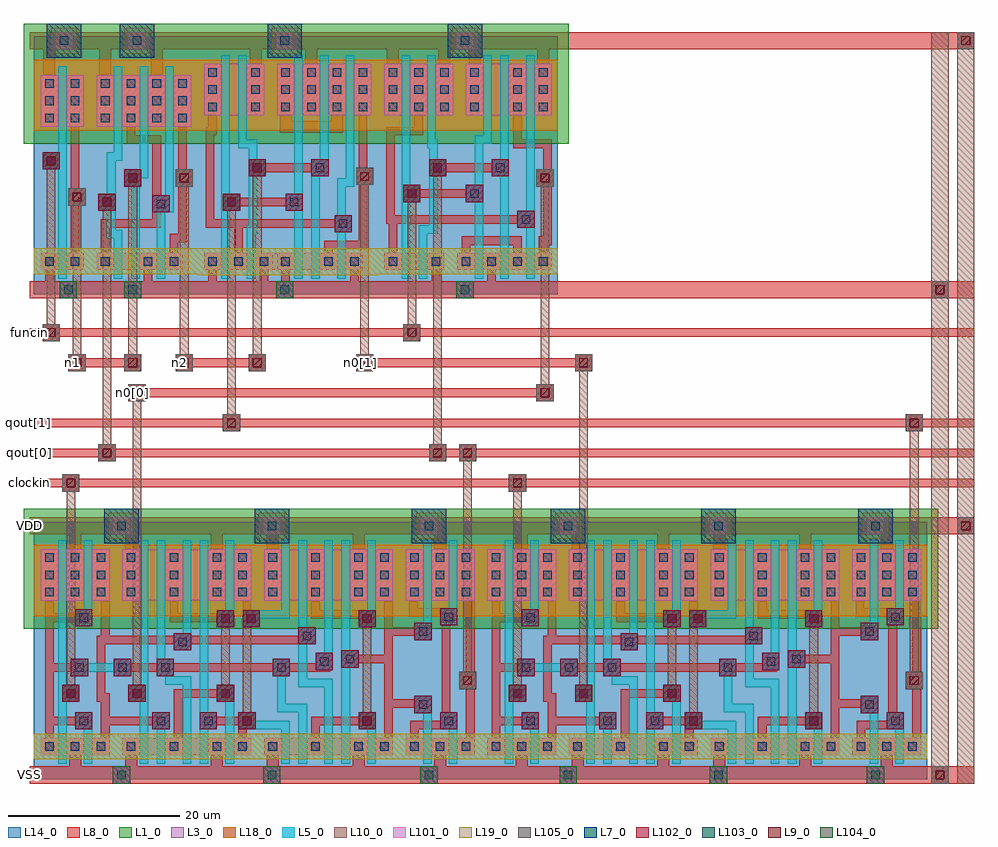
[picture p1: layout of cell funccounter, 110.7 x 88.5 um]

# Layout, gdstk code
import gdstk
lib = gdstk.Library(unit=1e-6, precision=1e-09)
def R(c, l, rs):  # rectangles x0, y0, x1, y1
    for r in rs: c.add(gdstk.rectangle(r[:2], r[2:], *l))
L1_0 = (1, 0)
L3_0 = (3, 0)
L5_0 = (5, 0)
L7_0 = (7, 0)
L8_0 = (8, 0)
L9_0 = (9, 0)
L10_0 = (10, 0)
L14_0 = (14, 0)
L18_0 = (18, 0)
L19_0 = (19, 0)
L101_0 = (101, 0)
L102_0 = (102, 0)
L103_0 = (103, 0)
L104_0 = (104, 0)
L105_0 = (105, 0)

via = lib.new_cell('Via')
R(via, L8_0, [(-1,-1,1,1)])
R(via, L9_0, [(-0.5,-0.5,0.5,0.5)])
R(via, L10_0, [(-1,-1,1,1)])
R(via, L105_0, [(-1,-1,1,1)])
via.add(gdstk.Label('via', (0,0), layer=13, texttype=0))

dcont = lib.new_cell('dcont')
R(dcont, L3_0, [(-1,-1,1,1)])
R(dcont, L7_0, [(-0.5,-0.5,0.5,0.5)])
R(dcont, L8_0, [(-1,-1,1,1)])
R(dcont, L101_0, [(-1,-1,1,1)])
dcont.add(gdstk.Label('dcont', (0,0), layer=13, texttype=0))

psubcont = lib.new_cell('psubcont')
R(psubcont, L104_0, [(-1,-1,1,1)])
psubcont.add(gdstk.Reference(dcont, (0,0)))
psubcont.add(gdstk.Label('PScon', (0,0), layer=13, texttype=0))

pcont = lib.new_cell('pcont')
R(pcont, L5_0, [(-1,-1,1,1)])
R(pcont, L7_0, [(-0.5,-0.5,0.5,0.5)])
R(pcont, L8_0, [(-1,-1,1,1)])
R(pcont, L102_0, [(-1,-1,1,1)])
pcont.add(gdstk.Label('pcont', (0,0), layer=13, texttype=0))

nsubcont = lib.new_cell('nsubcont')
R(nsubcont, L1_0, [(-2,-2,2,2)])
R(nsubcont, L19_0, [(-1.5,-1.5,1.5,1.5)])
R(nsubcont, L103_0, [(-2,-2,2,2)])
nsubcont.add(gdstk.Reference(dcont, (0,0)))
nsubcont.add(gdstk.Label('NScont', (0,0), layer=13, texttype=0))

dff1m2 = lib.new_cell('dff1m2')
R(dff1m2, L1_0, [(-1.2,17.5,53.3,31.5)])
R(dff1m2, L3_0, [(0.8,2.8,8.8,4.8), (10.3,2.8,25.3,4.8), (26.8,2.8,41.8,4.8), (43.3,2.8,51.3,4.8), (0.8,20.8,8.8,26.8), (10.3,20.8,25.3,26.8), (26.8,20.8,41.8,26.8), (43.3,20.8,51.3,26.8)])
R(dff1m2, L8_0, [(-0.5,-0.5,52.5,1.5), (3.3,9,5.3,11), (11,9,13,11), (49.5,10.5,51.5,12.5), (-0.5,28.5,52.5,30.5)])
R(dff1m2, L10_0, [(3.3,9,5.3,11), (11,9,13,11), (49.5,10.5,51.5,12.5)])
R(dff1m2, L14_0, [(0,0,52,30)])
R(dff1m2, L18_0, [(0,19,52,27.3)])
R(dff1m2, L19_0, [(0,2.3,52,5.3)])
R(dff1m2, L105_0, [(3.3,9,5.3,11), (11,9,13,11), (49.5,10.5,51.5,12.5)])
dff1m2.add(gdstk.FlexPath([(48.8,18.4),(48.8,27.3)], 1, ends="extended", simple_path=True, layer=5, datatype=0))  # L5_0
dff1m2.add(gdstk.FlexPath([(48.8,2.3),(48.8,6.7)], 1, ends="extended", simple_path=True, layer=5, datatype=0))  # L5_0
dff1m2.add(gdstk.FlexPath([(45.8,17),(45.8,27.3)], 1, ends="extended", simple_path=True, layer=5, datatype=0))  # L5_0
dff1m2.add(gdstk.FlexPath([(45.8,2.3),(45.8,8.9)], 1, ends="extended", simple_path=True, layer=5, datatype=0))  # L5_0
dff1m2.add(gdstk.FlexPath([(39.3,6.8),(39.3,2.3)], 1, ends="extended", simple_path=True, layer=5, datatype=0))  # L5_0
dff1m2.add(gdstk.FlexPath([(39.3,27.3),(39.3,18.7)], 1, ends="extended", simple_path=True, layer=5, datatype=0))  # L5_0
dff1m2.add(gdstk.FlexPath([(36.3,2.3),(36.3,27.3)], 1, ends="extended", simple_path=True, layer=5, datatype=0))  # L5_0
dff1m2.add(gdstk.FlexPath([(34.3,27.3),(34.3,13.7)], 1, ends="extended", simple_path=True, layer=5, datatype=0))  # L5_0
dff1m2.add(gdstk.FlexPath([(34.3,2.3),(34.3,11.2),(31.3,11.2),(31.3,27.3)], 1, ends="extended", simple_path=True, layer=5, datatype=0))  # L5_0
dff1m2.add(gdstk.FlexPath([(31.3,2.3),(31.3,8.3),(28.8,8.3),(28.8,13)], 1, ends="extended", simple_path=True, layer=5, datatype=0))  # L5_0
dff1m2.add(gdstk.FlexPath([(29.3,2.3),(29.3,6.3),(25.3,6.3)], 1, ends="extended", simple_path=True, layer=5, datatype=0))  # L5_0
dff1m2.add(gdstk.FlexPath([(25.3,19.2),(29.3,19.2),(29.3,27.3)], 1, ends="extended", simple_path=True, layer=5, datatype=0))  # L5_0
dff1m2.add(gdstk.FlexPath([(22.8,18.7),(22.8,27.3)], 1, ends="extended", simple_path=True, layer=5, datatype=0))  # L5_0
dff1m2.add(gdstk.FlexPath([(22.8,2.3),(22.8,10)], 1, ends="extended", simple_path=True, layer=5, datatype=0))  # L5_0
dff1m2.add(gdstk.FlexPath([(19.8,27.3),(19.8,2.3)], 1, ends="extended", simple_path=True, layer=5, datatype=0))  # L5_0
dff1m2.add(gdstk.FlexPath([(17.8,15.8),(17.8,27.3)], 1, ends="extended", simple_path=True, layer=5, datatype=0))  # L5_0
dff1m2.add(gdstk.FlexPath([(17.8,2.3),(17.8,11.5),(15.8,11.5),(15.8,13.1),(14.8,13.1),(14.8,27.3)], 1, ends="extended", simple_path=True, layer=5, datatype=0))  # L5_0
dff1m2.add(gdstk.FlexPath([(14.8,2.3),(14.8,6.8)], 1, ends="extended", simple_path=True, layer=5, datatype=0))  # L5_0
dff1m2.add(gdstk.FlexPath([(12.8,27.3),(12.8,2.3)], 1, ends="extended", simple_path=True, layer=5, datatype=0))  # L5_0
dff1m2.add(gdstk.FlexPath([(10.3,13),(5.4,13)], 1, ends="extended", simple_path=True, layer=5, datatype=0))  # L5_0
dff1m2.add(gdstk.FlexPath([(6.3,18.6),(6.3,27.3)], 1, ends="extended", simple_path=True, layer=5, datatype=0))  # L5_0
dff1m2.add(gdstk.FlexPath([(6.3,2.3),(6.3,7)], 1, ends="extended", simple_path=True, layer=5, datatype=0))  # L5_0
dff1m2.add(gdstk.FlexPath([(3.3,27.3),(3.3,2.3)], 1, ends="extended", simple_path=True, layer=5, datatype=0))  # L5_0
dff1m2.add(gdstk.FlexPath([(50.8,3.3),(50.8,26)], 1, ends="extended", simple_path=True, layer=8, datatype=0))  # L8_0
dff1m2.add(gdstk.FlexPath([(50.3,22.6),(50.3,25.8)], 1.4, ends="extended", simple_path=True, layer=8, datatype=0))  # L8_0
dff1m2.add(gdstk.FlexPath([(47.3,22.6),(47.3,28.5)], 1.4, ends="extended", simple_path=True, layer=8, datatype=0))  # L8_0
dff1m2.add(gdstk.FlexPath([(47.3,1),(47.3,3.8)], 1.4, ends="extended", simple_path=True, layer=8, datatype=0))  # L8_0
dff1m2.add(gdstk.FlexPath([(44.2,26),(44.2,19.4),(48,19.4),(48,6.3),(44.3,6.3),(44.3,3.6)], 1, ends="extended", simple_path=True, layer=8, datatype=0))  # L8_0
dff1m2.add(gdstk.FlexPath([(44.3,22.6),(44.3,25.8)], 1.4, ends="extended", simple_path=True, layer=8, datatype=0))  # L8_0
dff1m2.add(gdstk.FlexPath([(45.3,8.8),(41.3,8.8)], 1, ends="extended", simple_path=True, layer=8, datatype=0))  # L8_0
dff1m2.add(gdstk.FlexPath([(45.3,17.2),(41.3,17.2)], 1, ends="extended", simple_path=True, layer=8, datatype=0))  # L8_0
dff1m2.add(gdstk.FlexPath([(41.3,21.5),(41.3,3.8)], 1, ends="extended", simple_path=True, layer=8, datatype=0))  # L8_0
dff1m2.add(gdstk.FlexPath([(36.8,14),(41.3,14)], 1, ends="extended", simple_path=True, layer=8, datatype=0))  # L8_0
dff1m2.add(gdstk.FlexPath([(37.8,1),(37.8,3.8)], 1.4, ends="extended", simple_path=True, layer=8, datatype=0))  # L8_0
dff1m2.add(gdstk.FlexPath([(37.8,22.6),(37.8,28.5)], 1.4, ends="extended", simple_path=True, layer=8, datatype=0))  # L8_0
dff1m2.add(gdstk.FlexPath([(32.8,3.8),(32.8,6.8),(39.3,6.8)], 1, ends="extended", simple_path=True, layer=8, datatype=0))  # L8_0
dff1m2.add(gdstk.FlexPath([(32.8,22.6),(32.8,19.2),(39,19.2)], 1, ends="extended", simple_path=True, layer=8, datatype=0))  # L8_0
dff1m2.add(gdstk.FlexPath([(32.8,22.6),(32.8,25.8)], 1.4, ends="extended", simple_path=True, layer=8, datatype=0))  # L8_0
dff1m2.add(gdstk.FlexPath([(27.8,1),(27.8,3.8)], 1.4, ends="extended", simple_path=True, layer=8, datatype=0))  # L8_0
dff1m2.add(gdstk.FlexPath([(27.8,21.8),(27.8,28.5)], 1.4, ends="extended", simple_path=True, layer=8, datatype=0))  # L8_0
dff1m2.add(gdstk.FlexPath([(24.3,21.8),(24.8,21.8),(24.8,18.7)], 1, ends="extended", simple_path=True, layer=8, datatype=0))  # L8_0
dff1m2.add(gdstk.FlexPath([(24.3,22.6),(24.3,25.8)], 1.4, ends="extended", simple_path=True, layer=8, datatype=0))  # L8_0
dff1m2.add(gdstk.FlexPath([(34,13),(10.3,13)], 1, ends="extended", simple_path=True, layer=8, datatype=0))  # L8_0
dff1m2.add(gdstk.FlexPath([(19.9,6.8),(24.3,6.8),(24.3,3.5)], 1, ends="extended", simple_path=True, layer=8, datatype=0))  # L8_0
dff1m2.add(gdstk.FlexPath([(21.3,1),(21.3,3.8)], 1.4, ends="extended", simple_path=True, layer=8, datatype=0))  # L8_0
dff1m2.add(gdstk.FlexPath([(21.3,22.6),(21.3,28.5)], 1.4, ends="extended", simple_path=True, layer=8, datatype=0))  # L8_0
dff1m2.add(gdstk.FlexPath([(8.3,16.2),(31.8,16.2)], 1, ends="extended", simple_path=True, layer=8, datatype=0))  # L8_0
dff1m2.add(gdstk.FlexPath([(16.3,3.8),(16.3,4.3),(16.8,4.3),(16.8,10),(22.4,10)], 1, ends="extended", simple_path=True, layer=8, datatype=0))  # L8_0
dff1m2.add(gdstk.FlexPath([(16.3,22.6),(16.3,18.8),(22.3,18.8)], 1, ends="extended", simple_path=True, layer=8, datatype=0))  # L8_0
dff1m2.add(gdstk.FlexPath([(16.3,22.6),(16.3,25.8)], 1.4, ends="extended", simple_path=True, layer=8, datatype=0))  # L8_0
dff1m2.add(gdstk.FlexPath([(14.8,6.8),(8.3,6.8)], 1, ends="extended", simple_path=True, layer=8, datatype=0))  # L8_0
dff1m2.add(gdstk.FlexPath([(11.3,22.6),(11.3,28.5)], 1.4, ends="extended", simple_path=True, layer=8, datatype=0))  # L8_0
dff1m2.add(gdstk.FlexPath([(11.3,1),(11.3,3.8)], 1.4, ends="extended", simple_path=True, layer=8, datatype=0))  # L8_0
dff1m2.add(gdstk.FlexPath([(8.3,3.6),(8.3,9.5),(7.8,9.5),(7.8,16.2),(8.3,16.2),(8.3,26)], 1, ends="extended", simple_path=True, layer=8, datatype=0))  # L8_0
dff1m2.add(gdstk.FlexPath([(4.8,1),(4.8,3.8)], 1.4, ends="extended", simple_path=True, layer=8, datatype=0))  # L8_0
dff1m2.add(gdstk.FlexPath([(4.8,22.6),(4.8,28.5)], 1.4, ends="extended", simple_path=True, layer=8, datatype=0))  # L8_0
dff1m2.add(gdstk.FlexPath([(5.9,6.8),(1.8,6.8)], 1, ends="extended", simple_path=True, layer=8, datatype=0))  # L8_0
dff1m2.add(gdstk.FlexPath([(5.9,18.8),(1.8,18.8)], 1, ends="extended", simple_path=True, layer=8, datatype=0))  # L8_0
dff1m2.add(gdstk.FlexPath([(5.4,13),(1.8,13)], 1, ends="extended", simple_path=True, layer=8, datatype=0))  # L8_0
dff1m2.add(gdstk.FlexPath([(1.8,22.6),(1.8,25.8)], 1.4, ends="extended", simple_path=True, layer=8, datatype=0))  # L8_0
dff1m2.add(gdstk.FlexPath([(1.8,26),(1.8,3.6)], 1, ends="extended", simple_path=True, layer=8, datatype=0))  # L8_0
dff1m2.add(gdstk.FlexPath([(22.3,18.7),(22.3,10)], 1, ends="extended", simple_path=True, layer=10, datatype=0))  # L10_0
dff1m2.add(gdstk.FlexPath([(24.8,18.7),(24.8,6.8)], 1, ends="extended", simple_path=True, layer=10, datatype=0))  # L10_0
dff1m2.add(gdstk.FlexPath([(38.8,18.7),(38.8,7.8)], 1, ends="extended", simple_path=True, layer=10, datatype=0))  # L10_0
dff1m2.add(gdstk.Reference(via, (4.3,10)))
dff1m2.add(gdstk.Reference(via, (12,10)))
dff1m2.add(gdstk.Reference(via, (50.5,11.5)))
dff1m2.add(gdstk.Reference(via, (22.3,18.7)))
dff1m2.add(gdstk.Reference(via, (22.3,10)))
dff1m2.add(gdstk.Reference(via, (24.8,6.8)))
dff1m2.add(gdstk.Reference(via, (25.3,18.7)))
dff1m2.add(gdstk.Reference(via, (38.8,6.8)))
dff1m2.add(gdstk.Reference(via, (38.8,18.7)))
dff1m2.add(gdstk.Reference(psubcont, (10.2,0.5)))
dff1m2.add(gdstk.Reference(psubcont, (27.7,0.5)))
dff1m2.add(gdstk.Reference(psubcont, (46,0.5)))
dff1m2.add(gdstk.Reference(pcont, (48.3,18.9)))
dff1m2.add(gdstk.Reference(pcont, (48.3,6.8)))
dff1m2.add(gdstk.Reference(pcont, (45.3,17.2)))
dff1m2.add(gdstk.Reference(pcont, (45.3,8.7)))
dff1m2.add(gdstk.Reference(pcont, (38.8,6.8)))
dff1m2.add(gdstk.Reference(pcont, (38.8,18.7)))
dff1m2.add(gdstk.Reference(pcont, (36.8,14)))
dff1m2.add(gdstk.Reference(pcont, (33.8,13.7)))
dff1m2.add(gdstk.Reference(pcont, (31.8,16.7)))
dff1m2.add(gdstk.Reference(pcont, (28.8,13)))
dff1m2.add(gdstk.Reference(pcont, (25.3,18.7)))
dff1m2.add(gdstk.Reference(pcont, (24.8,6.8)))
dff1m2.add(gdstk.Reference(pcont, (22.3,10)))
dff1m2.add(gdstk.Reference(pcont, (22.3,18.7)))
dff1m2.add(gdstk.Reference(pcont, (20.3,6.8)))
dff1m2.add(gdstk.Reference(pcont, (17.3,16)))
dff1m2.add(gdstk.Reference(pcont, (15.3,13)))
dff1m2.add(gdstk.Reference(pcont, (14.8,6.8)))
dff1m2.add(gdstk.Reference(pcont, (12,10)))
dff1m2.add(gdstk.Reference(pcont, (10.3,13)))
dff1m2.add(gdstk.Reference(pcont, (5.8,6.8)))
dff1m2.add(gdstk.Reference(pcont, (5.8,18.8)))
dff1m2.add(gdstk.Reference(pcont, (5.3,13)))
dff1m2.add(gdstk.Reference(pcont, (4.3,10)))
dff1m2.add(gdstk.Reference(nsubcont, (10.2,29.5)))
dff1m2.add(gdstk.Reference(nsubcont, (27.7,29.5)))
dff1m2.add(gdstk.Reference(nsubcont, (46,29.5)))
dff1m2.add(gdstk.Reference(dcont, (50.3,25.8)))
dff1m2.add(gdstk.Reference(dcont, (50.3,23.8)))
dff1m2.add(gdstk.Reference(dcont, (50.3,21.8)))
dff1m2.add(gdstk.Reference(dcont, (50.3,3.8)))
dff1m2.add(gdstk.Reference(dcont, (47.3,25.8)))
dff1m2.add(gdstk.Reference(dcont, (47.3,23.8)))
dff1m2.add(gdstk.Reference(dcont, (47.3,21.8)))
dff1m2.add(gdstk.Reference(dcont, (47.3,3.8)))
dff1m2.add(gdstk.Reference(dcont, (44.3,25.8)))
dff1m2.add(gdstk.Reference(dcont, (44.3,23.8)))
dff1m2.add(gdstk.Reference(dcont, (44.3,21.8)))
dff1m2.add(gdstk.Reference(dcont, (44.3,3.8)))
dff1m2.add(gdstk.Reference(dcont, (40.8,3.8)))
dff1m2.add(gdstk.Reference(dcont, (40.8,25.8)))
dff1m2.add(gdstk.Reference(dcont, (40.8,23.8)))
dff1m2.add(gdstk.Reference(dcont, (40.8,21.8)))
dff1m2.add(gdstk.Reference(dcont, (37.8,3.8)))
dff1m2.add(gdstk.Reference(dcont, (37.8,25.8)))
dff1m2.add(gdstk.Reference(dcont, (37.8,23.8)))
dff1m2.add(gdstk.Reference(dcont, (37.8,21.8)))
dff1m2.add(gdstk.Reference(dcont, (32.8,3.8)))
dff1m2.add(gdstk.Reference(dcont, (32.8,25.8)))
dff1m2.add(gdstk.Reference(dcont, (32.8,23.8)))
dff1m2.add(gdstk.Reference(dcont, (32.8,21.8)))
dff1m2.add(gdstk.Reference(dcont, (27.8,21.8)))
dff1m2.add(gdstk.Reference(dcont, (27.8,3.8)))
dff1m2.add(gdstk.Reference(dcont, (27.8,23.8)))
dff1m2.add(gdstk.Reference(dcont, (27.8,25.8)))
dff1m2.add(gdstk.Reference(dcont, (24.3,3.8)))
dff1m2.add(gdstk.Reference(dcont, (24.3,25.8)))
dff1m2.add(gdstk.Reference(dcont, (24.3,23.8)))
dff1m2.add(gdstk.Reference(dcont, (24.3,21.8)))
dff1m2.add(gdstk.Reference(dcont, (21.3,3.8)))
dff1m2.add(gdstk.Reference(dcont, (21.3,25.8)))
dff1m2.add(gdstk.Reference(dcont, (21.3,23.8)))
dff1m2.add(gdstk.Reference(dcont, (21.3,21.8)))
dff1m2.add(gdstk.Reference(dcont, (16.3,3.8)))
dff1m2.add(gdstk.Reference(dcont, (16.3,23.8)))
dff1m2.add(gdstk.Reference(dcont, (16.3,25.8)))
dff1m2.add(gdstk.Reference(dcont, (16.3,21.8)))
dff1m2.add(gdstk.Reference(dcont, (11.3,3.8)))
dff1m2.add(gdstk.Reference(dcont, (11.3,25.8)))
dff1m2.add(gdstk.Reference(dcont, (11.3,23.8)))
dff1m2.add(gdstk.Reference(dcont, (11.3,21.8)))
dff1m2.add(gdstk.Reference(dcont, (7.8,3.8)))
dff1m2.add(gdstk.Reference(dcont, (7.8,21.8)))
dff1m2.add(gdstk.Reference(dcont, (7.8,23.8)))
dff1m2.add(gdstk.Reference(dcont, (7.8,25.8)))
dff1m2.add(gdstk.Reference(dcont, (4.8,3.8)))
dff1m2.add(gdstk.Reference(dcont, (4.8,25.8)))
dff1m2.add(gdstk.Reference(dcont, (4.8,21.8)))
dff1m2.add(gdstk.Reference(dcont, (4.8,23.8)))
dff1m2.add(gdstk.Reference(dcont, (1.8,25.8)))
dff1m2.add(gdstk.Reference(dcont, (1.8,3.8)))
dff1m2.add(gdstk.Reference(dcont, (1.8,21.8)))
dff1m2.add(gdstk.Reference(dcont, (1.8,23.8)))
dff1m2.add(gdstk.Label('via', (4.3,10), layer=13, texttype=0))
dff1m2.add(gdstk.Label('via', (12,10), layer=13, texttype=0))
dff1m2.add(gdstk.Label('via', (50.5,11.5), layer=13, texttype=0))
dff1m2.add(gdstk.Label('CK', (4.3,10.9), layer=13, texttype=0))
dff1m2.add(gdstk.Label('D', (11.2,10.9), layer=13, texttype=0))
dff1m2.add(gdstk.Label('VDD', (0.3,28.5), layer=13, texttype=0))
dff1m2.add(gdstk.Label('VSS', (0.3,1), layer=13, texttype=0))
dff1m2.add(gdstk.Label('Q', (50.8,12.4), layer=13, texttype=0))

exnr = lib.new_cell('exnr')
R(exnr, L1_0, [(-1.2,17.5,22.3,31.5)])
R(exnr, L3_0, [(0.8,2.8,7.8,4.8), (9.3,2.8,20.3,4.8), (0.8,20.8,8.8,26.8), (10.3,20.8,20.3,26.8)])
R(exnr, L8_0, [(-0.5,-0.5,21.5,1.5), (3,10.7,5,12.7), (18.5,12.5,20.5,14.5), (6,13.7,8,15.7), (-0.5,28.5,21.5,30.5)])
R(exnr, L10_0, [(3,10.7,5,12.7), (18.5,12.5,20.5,14.5), (6,13.7,8,15.7)])
R(exnr, L14_0, [(0,0,21,30)])
R(exnr, L18_0, [(0,19,21,27.3)])
R(exnr, L19_0, [(0,2.3,21,5.3)])
R(exnr, L105_0, [(3,10.7,5,12.7), (18.5,12.5,20.5,14.5), (6,13.7,8,15.7)])
exnr.add(gdstk.FlexPath([(12.8,27.3),(12.8,18),(11.8,18),(11.8,2.3)], 1, ends="extended", simple_path=True, layer=5, datatype=0))  # L5_0
exnr.add(gdstk.FlexPath([(17.8,27.3),(17.8,2.3)], 1, ends="extended", simple_path=True, layer=5, datatype=0))  # L5_0
exnr.add(gdstk.FlexPath([(14.8,27.3),(14.8,2.3)], 1, ends="extended", simple_path=True, layer=5, datatype=0))  # L5_0
exnr.add(gdstk.FlexPath([(6.3,27.3),(6.3,17.5),(6.5,17.5),(6.5,7.5),(5.3,7.5),(5.3,2.3)], 1, ends="extended", simple_path=True, layer=5, datatype=0))  # L5_0
exnr.add(gdstk.FlexPath([(3.3,27.3),(3.3,2.3)], 1, ends="extended", simple_path=True, layer=5, datatype=0))  # L5_0
exnr.add(gdstk.FlexPath([(19.3,22.6),(19.3,28.5)], 1.4, ends="extended", simple_path=True, layer=8, datatype=0))  # L8_0
exnr.add(gdstk.FlexPath([(16.3,21.8),(16.3,17.5),(19.8,17.5),(19.8,6.2),(19.3,6.2),(19.3,3.8)], 1, ends="extended", simple_path=True, layer=8, datatype=0))  # L8_0
exnr.add(gdstk.FlexPath([(16.3,25.8),(16.3,21.8)], 1.4, ends="extended", simple_path=True, layer=8, datatype=0))  # L8_0
exnr.add(gdstk.FlexPath([(16.3,3.8),(16.3,6.2),(10.3,6.2),(10.3,3.8)], 1, ends="extended", simple_path=True, layer=8, datatype=0))  # L8_0
exnr.add(gdstk.FlexPath([(13.3,1),(13.3,3.8)], 1, ends="extended", simple_path=True, layer=8, datatype=0))  # L8_0
exnr.add(gdstk.FlexPath([(11.3,22.6),(11.3,28.5)], 1.4, ends="extended", simple_path=True, layer=8, datatype=0))  # L8_0
exnr.add(gdstk.FlexPath([(7,14.7),(14.8,14.7)], 1, ends="extended", simple_path=True, layer=8, datatype=0))  # L8_0
exnr.add(gdstk.FlexPath([(1.5,8.7),(16.8,8.7)], 1, ends="extended", simple_path=True, layer=8, datatype=0))  # L8_0
exnr.add(gdstk.FlexPath([(7.8,22.6),(7.8,28.5)], 1.4, ends="extended", simple_path=True, layer=8, datatype=0))  # L8_0
exnr.add(gdstk.FlexPath([(4,11.7),(11.3,11.7)], 1, ends="extended", simple_path=True, layer=8, datatype=0))  # L8_0
exnr.add(gdstk.FlexPath([(6.8,1),(6.8,3.8)], 1, ends="extended", simple_path=True, layer=8, datatype=0))  # L8_0
exnr.add(gdstk.FlexPath([(4.8,25.8),(4.8,19),(1.5,19),(1.5,8.7),(1.8,8.7),(1.8,3.8)], 1, ends="extended", simple_path=True, layer=8, datatype=0))  # L8_0
exnr.add(gdstk.FlexPath([(1.8,22.6),(1.8,28.5)], 1.4, ends="extended", simple_path=True, layer=8, datatype=0))  # L8_0
exnr.add(gdstk.Reference(via, (4,11.7)))
exnr.add(gdstk.Reference(via, (7,14.7)))
exnr.add(gdstk.Reference(via, (19.5,13.5)))
exnr.add(gdstk.Reference(psubcont, (10.2,0.5)))
exnr.add(gdstk.Reference(pcont, (11.3,11.7)))
exnr.add(gdstk.Reference(pcont, (4,11.7)))
exnr.add(gdstk.Reference(pcont, (14.3,14.7)))
exnr.add(gdstk.Reference(pcont, (17.3,8.7)))
exnr.add(gdstk.Reference(nsubcont, (10.2,29.5)))
exnr.add(gdstk.Reference(pcont, (7,14.7)))
exnr.add(gdstk.Reference(dcont, (19.3,3.8)))
exnr.add(gdstk.Reference(dcont, (19.3,25.8)))
exnr.add(gdstk.Reference(dcont, (19.3,21.8)))
exnr.add(gdstk.Reference(dcont, (19.3,23.8)))
exnr.add(gdstk.Reference(dcont, (16.3,3.8)))
exnr.add(gdstk.Reference(dcont, (16.3,23.8)))
exnr.add(gdstk.Reference(dcont, (16.3,25.8)))
exnr.add(gdstk.Reference(dcont, (16.3,21.8)))
exnr.add(gdstk.Reference(dcont, (13.3,3.8)))
exnr.add(gdstk.Reference(dcont, (11.3,25.8)))
exnr.add(gdstk.Reference(dcont, (11.3,23.8)))
exnr.add(gdstk.Reference(dcont, (11.3,21.8)))
exnr.add(gdstk.Reference(dcont, (10.3,3.8)))
exnr.add(gdstk.Reference(dcont, (7.8,25.8)))
exnr.add(gdstk.Reference(dcont, (7.8,21.8)))
exnr.add(gdstk.Reference(dcont, (7.8,23.8)))
exnr.add(gdstk.Reference(dcont, (6.8,3.8)))
exnr.add(gdstk.Reference(dcont, (4.8,21.8)))
exnr.add(gdstk.Reference(dcont, (4.8,23.8)))
exnr.add(gdstk.Reference(dcont, (4.8,25.8)))
exnr.add(gdstk.Reference(dcont, (1.8,25.8)))
exnr.add(gdstk.Reference(dcont, (1.8,3.8)))
exnr.add(gdstk.Reference(dcont, (1.8,21.8)))
exnr.add(gdstk.Reference(dcont, (1.8,23.8)))
exnr.add(gdstk.Label('YB', (19,14.1), layer=13, texttype=0))
exnr.add(gdstk.Label('VSS', (0.3,1), layer=13, texttype=0))
exnr.add(gdstk.Label('VDD', (0.3,28.5), layer=13, texttype=0))
exnr.add(gdstk.Label('B', (4,11.4), layer=13, texttype=0))
exnr.add(gdstk.Label('A', (7,14.4), layer=13, texttype=0))
exnr.add(gdstk.Label('via', (4,11.7), layer=13, texttype=0))
exnr.add(gdstk.Label('via', (7,14.7), layer=13, texttype=0))
exnr.add(gdstk.Label('via', (19.5,13.5), layer=13, texttype=0))

exor = lib.new_cell('exor')
R(exor, L1_0, [(-1.2,17.5,22.3,31.5)])
R(exor, L3_0, [(0.8,2.8,8.8,4.8), (8.8,2.8,19.3,4.8), (0.8,20.8,7.8,26.8), (9.3,20.8,20.3,26.8)])
R(exor, L8_0, [(-0.5,-0.5,21.5,1.5), (3,9.7,5,11.7), (18.5,12.7,20.5,14.7), (6,13.7,8,15.7), (-0.5,28.5,21.5,30.5)])
R(exor, L10_0, [(3,9.7,5,11.7), (18.5,12.7,20.5,14.7), (6,13.7,8,15.7)])
R(exor, L14_0, [(0,0,21,30)])
R(exor, L18_0, [(0,19,21,27.3)])
R(exor, L19_0, [(0,2.2,21,5.3)])
R(exor, L105_0, [(3,9.7,5,11.7), (18.5,12.7,20.5,14.7), (6,13.7,8,15.7)])
exor.add(gdstk.FlexPath([(17.8,27.3),(17.8,13),(16.8,13),(16.8,2.3)], 1, ends="extended", simple_path=True, layer=5, datatype=0))  # L5_0
exor.add(gdstk.FlexPath([(14.8,27.3),(14.8,14.7),(13.8,14.7),(13.8,2.3)], 1, ends="extended", simple_path=True, layer=5, datatype=0))  # L5_0
exor.add(gdstk.FlexPath([(5.3,27.3),(5.3,17.5),(6.5,17.5),(6.5,7.5),(6.3,7.5),(6.3,2.3)], 1, ends="extended", simple_path=True, layer=5, datatype=0))  # L5_0
exor.add(gdstk.FlexPath([(11.8,27.3),(11.8,2.3)], 1, ends="extended", simple_path=True, layer=5, datatype=0))  # L5_0
exor.add(gdstk.FlexPath([(3.3,27.3),(3.3,2.3)], 1, ends="extended", simple_path=True, layer=5, datatype=0))  # L5_0
exor.add(gdstk.FlexPath([(19.3,21.8),(19.3,25.8)], 1.4, ends="extended", simple_path=True, layer=8, datatype=0))  # L8_0
exor.add(gdstk.FlexPath([(18.3,1),(18.3,3.8)], 1, ends="extended", simple_path=True, layer=8, datatype=0))  # L8_0
exor.add(gdstk.FlexPath([(19.3,21.8),(19.3,5.7),(15.3,5.7),(15.3,3.8)], 1, ends="extended", simple_path=True, layer=8, datatype=0))  # L8_0
exor.add(gdstk.FlexPath([(16.3,25.8),(16.3,19.5),(10.3,19.5),(10.3,25.1)], 1.4, ends="extended", simple_path=True, layer=8, datatype=0))  # L8_0
exor.add(gdstk.FlexPath([(13.3,22.6),(13.3,28.5)], 1.4, ends="extended", simple_path=True, layer=8, datatype=0))  # L8_0
exor.add(gdstk.FlexPath([(7,14.7),(14.8,14.7)], 1, ends="extended", simple_path=True, layer=8, datatype=0))  # L8_0
exor.add(gdstk.FlexPath([(10.3,1),(10.3,3.8)], 1, ends="extended", simple_path=True, layer=8, datatype=0))  # L8_0
exor.add(gdstk.FlexPath([(1.8,25.8),(1.8,19),(1.5,19),(1.5,8.2),(16.8,8.2)], 1, ends="extended", simple_path=True, layer=8, datatype=0))  # L8_0
exor.add(gdstk.FlexPath([(7.8,1),(7.8,3.8)], 1, ends="extended", simple_path=True, layer=8, datatype=0))  # L8_0
exor.add(gdstk.FlexPath([(4,10.7),(11.3,10.7)], 1, ends="extended", simple_path=True, layer=8, datatype=0))  # L8_0
exor.add(gdstk.FlexPath([(6.8,22.6),(6.8,28.5)], 1.4, ends="extended", simple_path=True, layer=8, datatype=0))  # L8_0
exor.add(gdstk.FlexPath([(4.8,8.2),(4.8,3.8)], 1, ends="extended", simple_path=True, layer=8, datatype=0))  # L8_0
exor.add(gdstk.FlexPath([(1.8,1),(1.8,3.8)], 1, ends="extended", simple_path=True, layer=8, datatype=0))  # L8_0
exor.add(gdstk.FlexPath([(1.8,22.6),(1.8,25.8)], 1.4, ends="extended", simple_path=True, layer=8, datatype=0))  # L8_0
exor.add(gdstk.Reference(via, (4,10.7)))
exor.add(gdstk.Reference(via, (7,14.7)))
exor.add(gdstk.Reference(via, (19.5,13.7)))
exor.add(gdstk.Reference(psubcont, (10.2,0.5)))
exor.add(gdstk.Reference(pcont, (11.3,10.7)))
exor.add(gdstk.Reference(pcont, (4,10.7)))
exor.add(gdstk.Reference(pcont, (14.3,14.7)))
exor.add(gdstk.Reference(pcont, (17,8.2)))
exor.add(gdstk.Reference(nsubcont, (10.2,29.5)))
exor.add(gdstk.Reference(pcont, (7,14.7)))
exor.add(gdstk.Reference(dcont, (19.3,25.8)))
exor.add(gdstk.Reference(dcont, (19.3,21.8)))
exor.add(gdstk.Reference(dcont, (19.3,23.8)))
exor.add(gdstk.Reference(dcont, (18.3,3.8)))
exor.add(gdstk.Reference(dcont, (16.3,23.8)))
exor.add(gdstk.Reference(dcont, (16.3,25.8)))
exor.add(gdstk.Reference(dcont, (16.3,21.8)))
exor.add(gdstk.Reference(dcont, (15.3,3.8)))
exor.add(gdstk.Reference(dcont, (13.3,25.8)))
exor.add(gdstk.Reference(dcont, (13.3,23.8)))
exor.add(gdstk.Reference(dcont, (13.3,21.8)))
exor.add(gdstk.Reference(dcont, (10.3,3.8)))
exor.add(gdstk.Reference(dcont, (10.3,25.8)))
exor.add(gdstk.Reference(dcont, (10.3,23.8)))
exor.add(gdstk.Reference(dcont, (10.3,21.8)))
exor.add(gdstk.Reference(dcont, (7.8,3.8)))
exor.add(gdstk.Reference(dcont, (6.8,25.8)))
exor.add(gdstk.Reference(dcont, (6.8,21.8)))
exor.add(gdstk.Reference(dcont, (6.8,23.8)))
exor.add(gdstk.Reference(dcont, (4.8,3.8)))
exor.add(gdstk.Reference(dcont, (1.8,25.8)))
exor.add(gdstk.Reference(dcont, (1.8,3.8)))
exor.add(gdstk.Reference(dcont, (1.8,21.8)))
exor.add(gdstk.Reference(dcont, (1.8,23.8)))
exor.add(gdstk.Label('VSS', (0.3,1), layer=13, texttype=0))
exor.add(gdstk.Label('VDD', (0.3,28.5), layer=13, texttype=0))
exor.add(gdstk.Label('B', (4,10.4), layer=13, texttype=0))
exor.add(gdstk.Label('A', (7,14.4), layer=13, texttype=0))
exor.add(gdstk.Label('Y', (19.3,14.6), layer=13, texttype=0))
exor.add(gdstk.Label('via', (19.5,13.7), layer=13, texttype=0))
exor.add(gdstk.Label('via', (4,10.7), layer=13, texttype=0))
exor.add(gdstk.Label('via', (7,14.7), layer=13, texttype=0))

inv1 = lib.new_cell('inv1')
R(inv1, L1_0, [(-1.2,17.5,7.8,31.5)])
R(inv1, L3_0, [(0.8,2.8,5.8,4.8), (0.8,19.5,5.8,25.5)])
R(inv1, L5_0, [(1.3,14.8,3.8,16.2)])
R(inv1, L8_0, [(-0.5,-0.5,7,1.5), (4,10.3,6,12.3), (1,14.5,3,16.5), (-0.5,28.5,7,30.5)])
R(inv1, L10_0, [(4,10.3,6,12.3), (1,14.5,3,16.5)])
R(inv1, L14_0, [(0,0,6.5,30)])
R(inv1, L18_0, [(0,19,6.5,27.3)])
R(inv1, L19_0, [(0,2.3,6.5,5.3)])
R(inv1, L105_0, [(4,10.3,6,12.3), (1,14.5,3,16.5)])
inv1.add(gdstk.FlexPath([(3.3,26),(3.3,2.3)], 1, ends="extended", simple_path=True, layer=5, datatype=0))  # L5_0
inv1.add(gdstk.FlexPath([(1.8,21.3),(1.8,28.5)], 1.4, ends="extended", simple_path=True, layer=8, datatype=0))  # L8_0
inv1.add(gdstk.FlexPath([(1.8,1),(1.8,3.8)], 1, ends="extended", simple_path=True, layer=8, datatype=0))  # L8_0
inv1.add(gdstk.FlexPath([(4.8,21.3),(4.8,24.5)], 1.4, ends="extended", simple_path=True, layer=8, datatype=0))  # L8_0
inv1.add(gdstk.FlexPath([(4.8,20.5),(4.8,3.8)], 1, ends="extended", simple_path=True, layer=8, datatype=0))  # L8_0
inv1.add(gdstk.Reference(psubcont, (4,0.5)))
inv1.add(gdstk.Reference(pcont, (2,15.5)))
inv1.add(gdstk.Reference(nsubcont, (3.5,29.5)))
inv1.add(gdstk.Reference(dcont, (4.8,3.8)))
inv1.add(gdstk.Reference(dcont, (4.8,24.5)))
inv1.add(gdstk.Reference(dcont, (4.8,20.5)))
inv1.add(gdstk.Reference(dcont, (4.8,22.5)))
inv1.add(gdstk.Reference(dcont, (1.8,24.5)))
inv1.add(gdstk.Reference(dcont, (1.8,3.8)))
inv1.add(gdstk.Reference(dcont, (1.8,20.5)))
inv1.add(gdstk.Reference(dcont, (1.8,22.5)))
inv1.add(gdstk.Reference(via, (2,15.5)))
inv1.add(gdstk.Reference(via, (5,11.3)))
inv1.add(gdstk.Label('via', (2,15.5), layer=13, texttype=0))
inv1.add(gdstk.Label('via', (5,11.3), layer=13, texttype=0))
inv1.add(gdstk.Label('YB', (4.4,12.2), layer=13, texttype=0))
inv1.add(gdstk.Label('VSS', (0.3,1), layer=13, texttype=0))
inv1.add(gdstk.Label('VDD', (0.3,28.5), layer=13, texttype=0))
inv1.add(gdstk.Label('A', (2,16.4), layer=13, texttype=0))

an21 = lib.new_cell('an21')
R(an21, L1_0, [(-1.2,17.5,13.8,31.5)])
R(an21, L3_0, [(0.8,2.8,10.8,4.8), (0.8,19.5,11.8,25.5)])
R(an21, L8_0, [(-0.5,-0.5,13,1.5), (1,9.7,3,11.7), (4,12.5,6,14.5), (10,12.5,12,14.5), (-0.5,28.5,13,30.5)])
R(an21, L10_0, [(1,9.7,3,11.7), (4,12.5,6,14.5), (10,12.5,12,14.5)])
R(an21, L14_0, [(0,0,12.5,30)])
R(an21, L18_0, [(0,19,12.5,27.3)])
R(an21, L19_0, [(0,2.3,12.5,5.3)])
R(an21, L105_0, [(1,9.7,3,11.7), (4,12.5,6,14.5), (10,12.5,12,14.5)])
an21.add(gdstk.FlexPath([(9.3,26),(9.3,10),(8.3,10),(8.3,2.3)], 1, ends="extended", simple_path=True, layer=5, datatype=0))  # L5_0
an21.add(gdstk.FlexPath([(6.3,26),(6.3,14),(5.5,14),(5.5,13),(5.3,13),(5.3,2.3)], 1, ends="extended", simple_path=True, layer=5, datatype=0))  # L5_0
an21.add(gdstk.FlexPath([(3.3,26),(3.3,16),(2.5,16),(2.5,7),(3.3,7),(3.3,2.3)], 1, ends="extended", simple_path=True, layer=5, datatype=0))  # L5_0
an21.add(gdstk.FlexPath([(10.8,21.3),(10.8,24.5)], 1.4, ends="extended", simple_path=True, layer=8, datatype=0))  # L8_0
an21.add(gdstk.FlexPath([(10.8,20.5),(10.8,6.5),(9.8,6.5),(9.8,3.8)], 1, ends="extended", simple_path=True, layer=8, datatype=0))  # L8_0
an21.add(gdstk.FlexPath([(7.8,21.3),(7.8,28.5)], 1.4, ends="extended", simple_path=True, layer=8, datatype=0))  # L8_0
an21.add(gdstk.FlexPath([(6.8,1),(6.8,3.8)], 1, ends="extended", simple_path=True, layer=8, datatype=0))  # L8_0
an21.add(gdstk.FlexPath([(4.8,21.3),(4.8,24.5)], 1.4, ends="extended", simple_path=True, layer=8, datatype=0))  # L8_0
an21.add(gdstk.FlexPath([(4.8,20.5),(4.8,18),(7.8,18),(7.8,8.2),(1.8,8.2),(1.8,3.8)], 1, ends="extended", simple_path=True, layer=8, datatype=0))  # L8_0
an21.add(gdstk.FlexPath([(1.8,21.3),(1.8,28.5)], 1.4, ends="extended", simple_path=True, layer=8, datatype=0))  # L8_0
an21.add(gdstk.Reference(psubcont, (5,0.5)))
an21.add(gdstk.Reference(pcont, (2,10.7)))
an21.add(gdstk.Reference(pcont, (8.3,10.5)))
an21.add(gdstk.Reference(nsubcont, (5.5,29.5)))
an21.add(gdstk.Reference(pcont, (5,13.5)))
an21.add(gdstk.Reference(via, (11,13.5)))
an21.add(gdstk.Reference(dcont, (10.8,24.5)))
an21.add(gdstk.Reference(dcont, (10.8,22.5)))
an21.add(gdstk.Reference(dcont, (10.8,20.5)))
an21.add(gdstk.Reference(dcont, (9.8,3.8)))
an21.add(gdstk.Reference(dcont, (7.8,20.5)))
an21.add(gdstk.Reference(dcont, (7.8,22.5)))
an21.add(gdstk.Reference(dcont, (7.8,24.5)))
an21.add(gdstk.Reference(dcont, (6.8,3.8)))
an21.add(gdstk.Reference(via, (5,13.5)))
an21.add(gdstk.Reference(dcont, (4.8,24.5)))
an21.add(gdstk.Reference(dcont, (4.8,20.5)))
an21.add(gdstk.Reference(dcont, (4.8,22.5)))
an21.add(gdstk.Reference(via, (2,10.7)))
an21.add(gdstk.Reference(dcont, (1.8,24.5)))
an21.add(gdstk.Reference(dcont, (1.8,3.8)))
an21.add(gdstk.Reference(dcont, (1.8,20.5)))
an21.add(gdstk.Reference(dcont, (1.8,22.5)))
an21.add(gdstk.Label('Y', (10.4,14.4), layer=13, texttype=0))
an21.add(gdstk.Label('VSS', (0.3,1), layer=13, texttype=0))
an21.add(gdstk.Label('VDD', (0.3,28.5), layer=13, texttype=0))
an21.add(gdstk.Label('A', (1.2,11.6), layer=13, texttype=0))
an21.add(gdstk.Label('B', (4.3,14.4), layer=13, texttype=0))
an21.add(gdstk.Label('via', (11,13.5), layer=13, texttype=0))
an21.add(gdstk.Label('via', (5,13.5), layer=13, texttype=0))
an21.add(gdstk.Label('via', (2,10.7), layer=13, texttype=0))

funccounter = lib.new_cell('funccounter')
funccounter.add(gdstk.FlexPath([(0,34.5),(109,34.5)], 1, ends="extended", simple_path=True, layer=8, datatype=0))  # L8_0
funccounter.add(gdstk.FlexPath([(0,38),(109,38)], 1, ends="extended", simple_path=True, layer=8, datatype=0))  # L8_0
funccounter.add(gdstk.FlexPath([(0,41.5),(109,41.5)], 1, ends="extended", simple_path=True, layer=8, datatype=0))  # L8_0
funccounter.add(gdstk.FlexPath([(104,29.5),(108.5,29.5)], 2, ends="extended", simple_path=True, layer=8, datatype=0))  # L8_0
funccounter.add(gdstk.FlexPath([(61,57),(108.5,57)], 2, ends="extended", simple_path=True, layer=8, datatype=0))  # L8_0
funccounter.add(gdstk.FlexPath([(38.5,48.5),(64,48.5)], 1, ends="extended", simple_path=True, layer=8, datatype=0))  # L8_0
funccounter.add(gdstk.FlexPath([(5,48.5),(11.5,48.5)], 1, ends="extended", simple_path=True, layer=8, datatype=0))  # L8_0
funccounter.add(gdstk.FlexPath([(17.5,48.5),(26,48.5)], 1, ends="extended", simple_path=True, layer=8, datatype=0))  # L8_0
funccounter.add(gdstk.FlexPath([(12,45),(59.5,45)], 1, ends="extended", simple_path=True, layer=8, datatype=0))  # L8_0
funccounter.add(gdstk.FlexPath([(61,57),(108.5,57)], 2, ends="extended", simple_path=True, layer=8, datatype=0))  # L8_0
funccounter.add(gdstk.FlexPath([(61,86),(108.5,86)], 2, ends="extended", simple_path=True, layer=8, datatype=0))  # L8_0
funccounter.add(gdstk.FlexPath([(104,0.5),(108.5,0.5)], 2, ends="extended", simple_path=True, layer=8, datatype=0))  # L8_0
funccounter.add(gdstk.FlexPath([(0,52),(109,52)], 1, ends="extended", simple_path=True, layer=8, datatype=0))  # L8_0
funccounter.add(gdstk.FlexPath([(108.5,86),(108.5,0.5)], 2, ends="extended", simple_path=True, layer=10, datatype=0))  # L10_0
funccounter.add(gdstk.FlexPath([(8.5,66.2),(8.5,38)], 1, ends="extended", simple_path=True, layer=10, datatype=0))  # L10_0
funccounter.add(gdstk.FlexPath([(38.5,48.5),(38.5,69.2)], 1, ends="extended", simple_path=True, layer=10, datatype=0))  # L10_0
funccounter.add(gdstk.FlexPath([(11.5,48.5),(11.5,69)], 1, ends="extended", simple_path=True, layer=10, datatype=0))  # L10_0
funccounter.add(gdstk.FlexPath([(5,48.5),(5,66.8)], 1, ends="extended", simple_path=True, layer=10, datatype=0))  # L10_0
funccounter.add(gdstk.FlexPath([(44,67.2),(44,52)], 1, ends="extended", simple_path=True, layer=10, datatype=0))  # L10_0
funccounter.add(gdstk.FlexPath([(26,70.2),(26,48.5)], 1, ends="extended", simple_path=True, layer=10, datatype=0))  # L10_0
funccounter.add(gdstk.FlexPath([(2,71),(2,52)], 1, ends="extended", simple_path=True, layer=10, datatype=0))  # L10_0
funccounter.add(gdstk.FlexPath([(64,11),(64,48.5)], 1, ends="extended", simple_path=True, layer=10, datatype=0))  # L10_0
funccounter.add(gdstk.FlexPath([(12,11),(12,45)], 1, ends="extended", simple_path=True, layer=10, datatype=0))  # L10_0
funccounter.add(gdstk.FlexPath([(102.5,12.5),(102.5,41.5)], 1, ends="extended", simple_path=True, layer=10, datatype=0))  # L10_0
funccounter.add(gdstk.FlexPath([(50.5,12.5),(50.5,38)], 1, ends="extended", simple_path=True, layer=10, datatype=0))  # L10_0
funccounter.add(gdstk.FlexPath([(4.3,11),(4.3,34.5)], 1, ends="extended", simple_path=True, layer=10, datatype=0))  # L10_0
funccounter.add(gdstk.FlexPath([(56.3,11),(56.3,34.5)], 1, ends="extended", simple_path=True, layer=10, datatype=0))  # L10_0
funccounter.add(gdstk.FlexPath([(17.5,69),(17.5,48.5)], 1, ends="extended", simple_path=True, layer=10, datatype=0))  # L10_0
funccounter.add(gdstk.FlexPath([(23,66.2),(23,41.5)], 1, ends="extended", simple_path=True, layer=10, datatype=0))  # L10_0
funccounter.add(gdstk.FlexPath([(59.5,69),(59.5,45)], 1, ends="extended", simple_path=True, layer=10, datatype=0))  # L10_0
funccounter.add(gdstk.FlexPath([(47,70.1),(47,38)], 1, ends="extended", simple_path=True, layer=10, datatype=0))  # L10_0
funccounter.add(gdstk.FlexPath([(105.5,86),(105.5,0.5)], 2, ends="extended", simple_path=True, layer=10, datatype=0))  # L10_0
funccounter.add(gdstk.Reference(via, (105.5,0.5)))
funccounter.add(gdstk.Reference(via, (108.5,86)))
funccounter.add(gdstk.Reference(via, (64,48.5)))
funccounter.add(gdstk.Reference(via, (56.3,34.5)))
funccounter.add(gdstk.Reference(via, (47,38)))
funccounter.add(gdstk.Reference(via, (38.5,48.5)))
funccounter.add(gdstk.Reference(via, (23,41.5)))
funccounter.add(gdstk.Reference(via, (8.5,38)))
funccounter.add(gdstk.Reference(via, (12,45)))
funccounter.add(gdstk.Reference(via, (5,48.5)))
funccounter.add(gdstk.Reference(dff1m2, (52,0)))
funccounter.add(gdstk.Reference(exnr, (40,56.5)))
funccounter.add(gdstk.Reference(exor, (19,56.5)))
funccounter.add(gdstk.Reference(inv1, (0,56.5)))
funccounter.add(gdstk.Reference(an21, (6.5,56.5)))
funccounter.add(gdstk.Reference(dff1m2, (0,0)))
funccounter.add(gdstk.Reference(via, (2,52)))
funccounter.add(gdstk.Reference(via, (11.5,48.5)))
funccounter.add(gdstk.Reference(via, (17.5,48.5)))
funccounter.add(gdstk.Reference(via, (4.3,34.5)))
funccounter.add(gdstk.Reference(via, (26,48.5)))
funccounter.add(gdstk.Reference(via, (44,52)))
funccounter.add(gdstk.Reference(via, (50.5,38)))
funccounter.add(gdstk.Reference(via, (59.5,45)))
funccounter.add(gdstk.Reference(via, (102.5,41.5)))
funccounter.add(gdstk.Reference(via, (108.5,29.5)))
funccounter.add(gdstk.Reference(via, (105.5,57)))
funccounter.add(gdstk.Label('VDD', (-0.5,29.5), layer=8, texttype=0))
funccounter.add(gdstk.Label('funcin', (-0.5,52), layer=8, texttype=0))
funccounter.add(gdstk.Label('qout[1]', (-0.6,41.5), layer=8, texttype=0))
funccounter.add(gdstk.Label('clockin', (-0.5,34.5), layer=8, texttype=0))
funccounter.add(gdstk.Label('qout[0]', (-0.5,38), layer=8, texttype=0))
funccounter.add(gdstk.Label('VSS', (-0.5,0.5), layer=8, texttype=0))
funccounter.add(gdstk.Label('n0[1]', (38,48.5), layer=13, texttype=0))
funccounter.add(gdstk.Label('n0[0]', (11.5,45), layer=13, texttype=0))
funccounter.add(gdstk.Label('n1', (4.5,48.5), layer=13, texttype=0))
funccounter.add(gdstk.Label('n2', (17,48.5), layer=13, texttype=0))

lib.write_gds('funccounter.gds')
